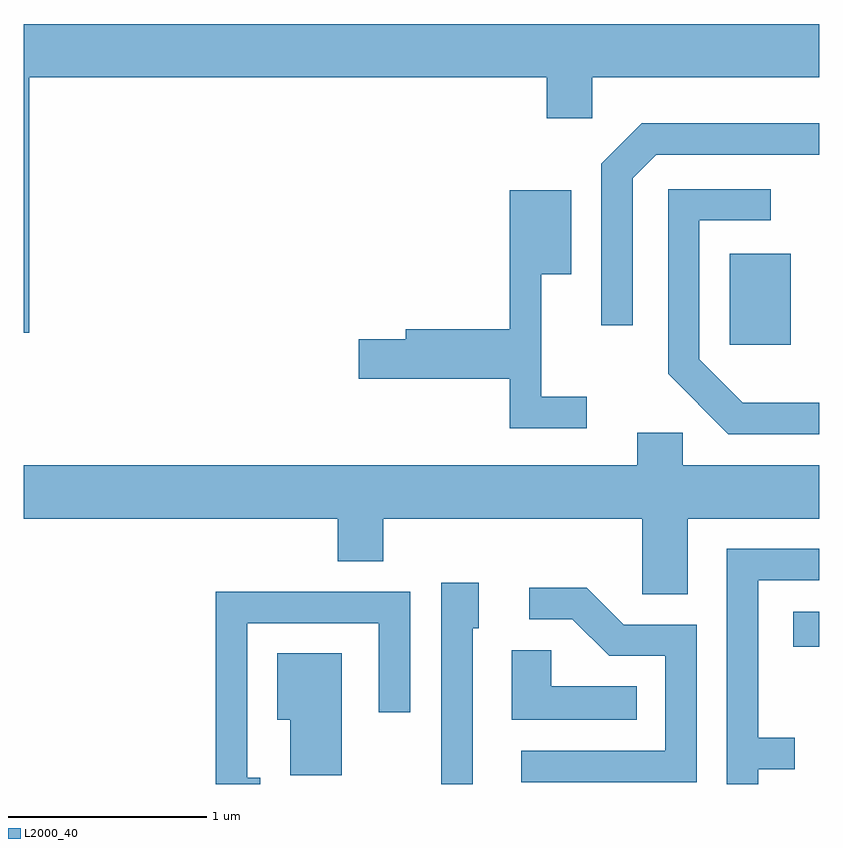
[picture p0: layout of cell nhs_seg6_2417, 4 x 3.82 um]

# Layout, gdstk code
import gdstk
lib = gdstk.Library(unit=1e-6, precision=1e-09)
def R(c, l, rs):  # rectangles x0, y0, x1, y1
    for r in rs: c.add(gdstk.rectangle(r[:2], r[2:], *l))
def P(c, l, *ps):  # polygons
    for p in ps: c.add(gdstk.Polygon(p, *l))
L2000_40 = (2000, 40)

nhs_seg6_2417 = lib.new_cell('nhs_seg6_2417')
R(nhs_seg6_2417, L2000_40, [(261.481,1644.851,261.611,1645.029), (261.161,1646.371,261.469,1646.829)])
P(nhs_seg6_2417, L2000_40, [(257.639,1647.716),(260.241,1647.716),(260.241,1647.511),(260.469,1647.511),(260.469,1647.716),(261.611,1647.716),(261.611,1647.984),(257.611,1647.984),(257.611,1646.431),(257.639,1646.431)],
  [(260.674,1647.209),(260.791,1647.326),(261.611,1647.326),(261.611,1647.484),(260.719,1647.484),(260.516,1647.282),(260.516,1646.468),(260.674,1646.468)],
  [(261.611,1646.079),(261.227,1646.079),(261.009,1646.297),(261.009,1646.996),(261.368,1646.996),(261.368,1647.154),(260.851,1647.154),(260.851,1646.224),(261.154,1645.921),(261.611,1645.921)],
  [(260.443,1646.109),(260.214,1646.109),(260.214,1646.726),(260.364,1646.726),(260.364,1647.149),(260.056,1647.149),(260.056,1646.449),(259.531,1646.449),(259.531,1646.399),(259.296,1646.399),(259.296,1646.201),(260.056,1646.201),(260.056,1645.951),(260.443,1645.951)],
  [(260.949,1645.496),(261.611,1645.496),(261.611,1645.764),(260.924,1645.764),(260.924,1645.929),(260.696,1645.929),(260.696,1645.764),(257.611,1645.764),(257.611,1645.496),(259.191,1645.496),(259.191,1645.281),(259.419,1645.281),(259.419,1645.496),(260.721,1645.496),(260.721,1645.116),(260.949,1645.116)],
  [(261.304,1644.236),(261.488,1644.236),(261.488,1644.394),(261.304,1644.394),(261.304,1645.186),(261.611,1645.186),(261.611,1645.344),(261.146,1645.344),(261.146,1644.162),(261.304,1644.162)],
  [(259.869,1644.946),(259.899,1644.946),(259.899,1645.174),(259.711,1645.174),(259.711,1644.162),(259.869,1644.162)],
  [(260.994,1644.964),(260.627,1644.964),(260.442,1645.149),(260.153,1645.149),(260.153,1644.991),(260.368,1644.991),(260.554,1644.806),(260.836,1644.806),(260.836,1644.329),(260.113,1644.329),(260.113,1644.171),(260.994,1644.171)],
  [(258.799,1644.194),(258.734,1644.194),(258.734,1644.971),(259.396,1644.971),(259.396,1644.523),(259.554,1644.523),(259.554,1645.129),(258.576,1645.129),(258.576,1644.162),(258.799,1644.162)],
  [(260.693,1644.654),(260.264,1644.654),(260.264,1644.834),(260.066,1644.834),(260.066,1644.486),(260.693,1644.486)],
  [(259.209,1644.819),(258.886,1644.819),(258.886,1644.486),(258.951,1644.486),(258.951,1644.206),(259.209,1644.206)])

lib.write_gds('nhs_seg6_2417.gds')
